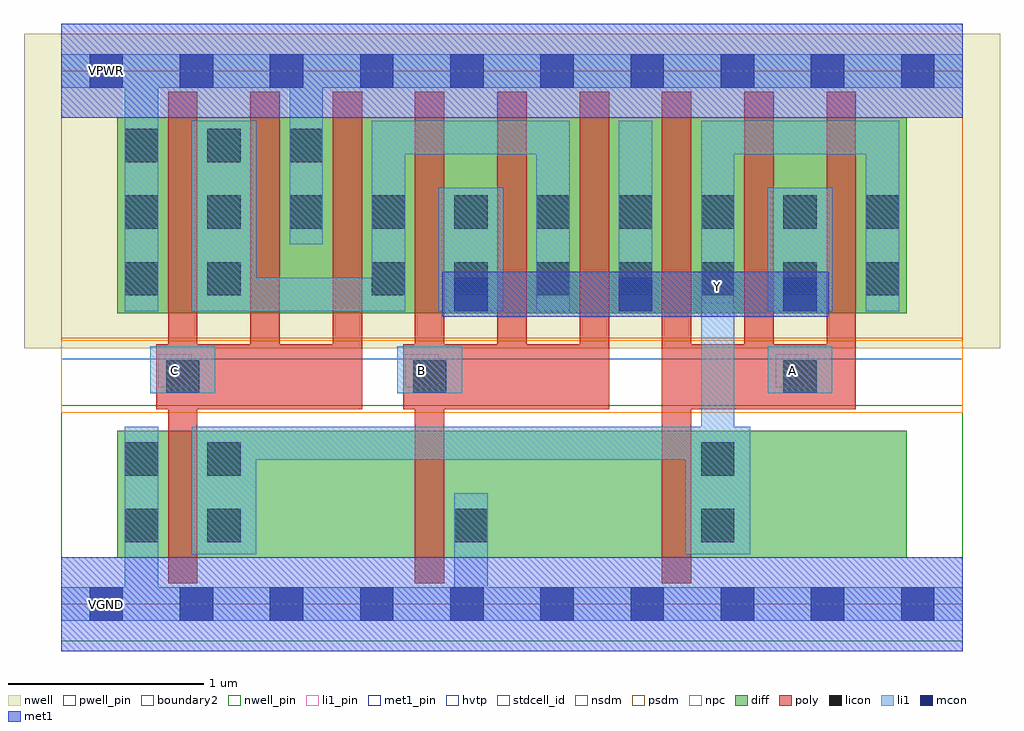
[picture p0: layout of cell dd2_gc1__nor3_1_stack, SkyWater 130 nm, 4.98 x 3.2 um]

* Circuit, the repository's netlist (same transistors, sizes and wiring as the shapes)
.subckt dd2_gc1__nor3_1_stack A B C VGND VNB VPB VPWR Y
X0 Y A VGND VNB sky130_fd_pr__nfet_01v8 w=0.65 l=0.15
X1 Y B VGND VNB sky130_fd_pr__nfet_01v8 w=0.65 l=0.15
X2 Y C VGND VNB sky130_fd_pr__nfet_01v8 w=0.65 l=0.15
X3 Y A p1 VPB sky130_fd_pr__pfet_01v8_hvt w=1 l=0.15
X4 Y A p1 VPB sky130_fd_pr__pfet_01v8_hvt w=1 l=0.15
X5 Y A p1 VPB sky130_fd_pr__pfet_01v8_hvt w=1 l=0.15
X6 p1 B p2 VPB sky130_fd_pr__pfet_01v8_hvt w=1 l=0.15
X7 p1 B p2 VPB sky130_fd_pr__pfet_01v8_hvt w=1 l=0.15
X8 p1 B p2 VPB sky130_fd_pr__pfet_01v8_hvt w=1 l=0.15
X9 p2 C VPWR VPB sky130_fd_pr__pfet_01v8_hvt w=1 l=0.15
X10 p2 C VPWR VPB sky130_fd_pr__pfet_01v8_hvt w=1 l=0.15
X11 p2 C VPWR VPB sky130_fd_pr__pfet_01v8_hvt w=1 l=0.15
.ends

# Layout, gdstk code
import gdstk
lib = gdstk.Library(unit=1e-6, precision=1e-09)
def R(c, l, rs):  # rectangles x0, y0, x1, y1
    for r in rs: c.add(gdstk.rectangle(r[:2], r[2:], *l))
def A(c, l, x, y, w, h, nx, ny, dx, dy):  # array of equal rectangles
    R(c, l, [(x+i*dx, y+j*dy, x+i*dx+w, y+j*dy+h) for i in range(nx) for j in range(ny)])
nwell_pin = (64, 16)
nwell = (64, 20)
diff = (65, 20)
poly = (66, 20)
licon = (66, 44)
li1_pin = (67, 16)
li1 = (67, 20)
mcon = (67, 44)
met1_pin = (68, 16)
met1 = (68, 20)
hvtp = (78, 44)
stdcell_id = (81, 4)
nsdm = (93, 44)
psdm = (94, 20)
npc = (95, 20)
pwell_pin = (122, 16)
boundary2 = (236, 0)

dd2_gc1__nor3_1_stack = lib.new_cell('dd2_gc1__nor3_1_stack')
R(dd2_gc1__nor3_1_stack, nwell_pin, [(0.145,2.635,0.315,2.805)])
R(dd2_gc1__nor3_1_stack, nwell, [(-0.19,1.305,4.79,2.91)])
R(dd2_gc1__nor3_1_stack, diff, [(0.285,0.235,4.315,0.885), (0.285,1.485,4.315,2.485)])
A(dd2_gc1__nor3_1_stack, poly, 0.545, 0.105, 0.15, 2.51, 3, 1, 1.26, 0)
R(dd2_gc1__nor3_1_stack, poly, [(0.485,0.995,1.535,1.325), (0.965,0.995,1.115,2.615), (1.385,0.995,1.535,2.615), (1.745,0.995,2.795,1.325), (2.225,0.995,2.375,2.615), (2.645,0.995,2.795,2.615), (3.065,0.995,4.055,1.325), (3.485,0.995,3.635,2.615), (3.905,0.995,4.055,2.615)])
A(dd2_gc1__nor3_1_stack, licon, 0.745, 0.315, 0.17, 0.17, 3, 1, 1.26, 0)
A(dd2_gc1__nor3_1_stack, licon, 1.585, 1.575, 0.17, 0.17, 7, 1, 0.42, 0)
A(dd2_gc1__nor3_1_stack, licon, 0.325, 1.915, 0.17, 0.17, 10, 1, 0.42, 0)
A(dd2_gc1__nor3_1_stack, licon, 0.325, 2.255, 0.17, 0.17, 3, 1, 0.42, 0)
R(dd2_gc1__nor3_1_stack, licon, [(0.325,0.315,0.495,0.485), (0.325,0.655,0.495,0.825), (0.745,0.655,0.915,0.825), (3.265,0.655,3.435,0.825), (0.535,1.075,0.705,1.245), (1.795,1.075,1.965,1.245), (3.685,1.075,3.855,1.245), (0.325,1.575,0.495,1.745), (0.745,1.575,0.915,1.745)])
R(dd2_gc1__nor3_1_stack, li1_pin, [(0.495,1.105,0.665,1.275), (1.755,1.105,1.925,1.275), (3.645,1.105,3.815,1.275), (3.27,1.535,3.43,1.705)])
A(dd2_gc1__nor3_1_stack, li1, 2.425, 1.495, 0.17, 0.97, 3, 1, 0.42, 0)
R(dd2_gc1__nor3_1_stack, li1, [(0,-0.085,4.6,0.085), (0.325,-0.085,0.495,0.905), (2.005,-0.085,2.175,0.565), (0.665,0.255,0.995,0.905), (3.185,0.255,3.515,0.905), (0.665,0.735,3.515,0.905), (3.265,0.895,3.435,1.505), (0.455,1.075,0.785,1.315), (1.715,1.075,2.045,1.315), (3.605,1.075,3.935,1.315), (0.325,1.495,0.495,2.805), (0.665,1.495,0.995,2.465), (0.665,1.495,1.755,1.665), (1.585,1.495,1.755,2.465), (1.925,1.495,2.255,2.125), (3.265,1.495,3.435,1.665), (3.605,1.495,3.935,2.125), (4.105,1.495,4.275,2.465), (1.165,1.835,1.335,2.805), (1.585,2.295,2.595,2.465), (3.265,2.295,4.275,2.465), (0,2.635,4.6,2.805)])
A(dd2_gc1__nor3_1_stack, mcon, 0.145, -0.085, 0.17, 0.17, 10, 2, 0.46, 2.72)
A(dd2_gc1__nor3_1_stack, mcon, 2.005, 1.495, 0.17, 0.17, 3, 1, 0.84, 0)
R(dd2_gc1__nor3_1_stack, met1_pin, [(0.145,-0.085,0.315,0.085), (0.145,2.635,0.315,2.805)])
R(dd2_gc1__nor3_1_stack, met1, [(0,-0.24,4.6,0.24), (1.945,1.465,3.915,1.695), (0,2.48,4.6,2.96)])
R(dd2_gc1__nor3_1_stack, hvtp, [(0,1.25,4.6,2.72)])
R(dd2_gc1__nor3_1_stack, stdcell_id, [(0,0,4.6,2.72)])
R(dd2_gc1__nor3_1_stack, nsdm, [(0,-0.19,4.6,1.015)])
R(dd2_gc1__nor3_1_stack, psdm, [(0,1.355,4.6,2.91)])
R(dd2_gc1__nor3_1_stack, npc, [(0,0.975,4.6,1.345)])
R(dd2_gc1__nor3_1_stack, pwell_pin, [(0.145,-0.085,0.315,0.085)])
R(dd2_gc1__nor3_1_stack, boundary2, [(0,0,4.6,2.72)])
dd2_gc1__nor3_1_stack.add(gdstk.Label('C', (0.58,1.19), layer=67, texttype=5))
dd2_gc1__nor3_1_stack.add(gdstk.Label('B', (1.84,1.19), layer=67, texttype=5))
dd2_gc1__nor3_1_stack.add(gdstk.Label('A', (3.73,1.19), layer=67, texttype=5))
dd2_gc1__nor3_1_stack.add(gdstk.Label('Y', (3.35,1.62), layer=67, texttype=5))
dd2_gc1__nor3_1_stack.add(gdstk.Label('VGND', (0.23,0), layer=68, texttype=5))
dd2_gc1__nor3_1_stack.add(gdstk.Label('VPWR', (0.23,2.72), layer=68, texttype=5))
dd2_gc1__nor3_1_stack.add(gdstk.Label('VPB', (0.23,2.72), layer=64, texttype=5))
dd2_gc1__nor3_1_stack.add(gdstk.Label('VNB', (0.23,0), layer=64, texttype=59))

lib.write_gds('dd2_gc1__nor3_1_stack.gds')
